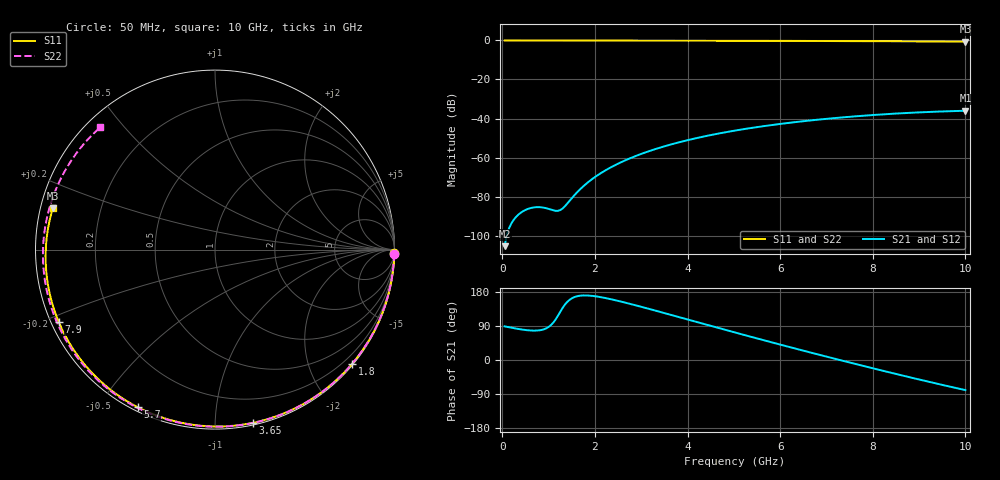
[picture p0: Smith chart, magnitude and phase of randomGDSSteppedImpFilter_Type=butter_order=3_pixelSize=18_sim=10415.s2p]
! freq	dB(S11)	phase(S11)	dB(S12)	phase(S12)
!  dB(S21)	phase(S21)	dB(S22)	phase(S22)
!S-par simulation data
#  GHz  S  DB  R 50
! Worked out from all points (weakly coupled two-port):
!   200 points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, 50 MHz to 10 GHz, reference 50 ohm
!   highest |S21| = -36.03 dB at 10 GHz (marker M1); lowest = -105.4 dB at 50 MHz (marker M2)
!   lowest |S11| = -0.6 dB at 10 GHz (marker M3), VSWR 28.66, Z = 1.77 + j6.26 ohm
!   |S11| at or under -10 dB: nowhere
!   |S22| runs from -0.6 to 0.0 dB; largest |S21 - S12| = 0
!   S11 on the Smith chart (normalised r, x): 50 MHz: open; 1.8 GHz: 0.03, -2.77; 3.65 GHz: 0.02, -1.24; 5.7 GHz: 0.02, -0.62; 7.9 GHz: 0.02, -0.22; 10 GHz: 0.04, +0.13
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0.05  -0.00 -1.1  -105.43 88.8  -105.43 88.8  -0.00 -1.4
0.4  -0.01 -9.0  -88.27 80.8  -88.27 80.8  -0.02 -11.2
0.75  -0.02 -16.8  -85.43 77.8  -85.43 77.8  -0.03 -20.9
1.5  -0.04 -33.3  -80.86 162.6  -80.86 162.6  -0.05 -41.4
1.55  -0.04 -34.3  -79.50 165.6  -79.50 165.6  -0.05 -42.7
1.75  -0.05 -38.7  -74.72 170.4  -74.72 170.4  -0.06 -48.0
1.8  -0.05 -39.7  -73.68 170.4  -73.68 170.4  -0.06 -49.3
2.1  -0.06 -46.1  -68.42 166.4  -68.42 166.4  -0.07 -57.1
2.45  -0.07 -53.5  -63.73 157.5  -63.73 157.5  -0.08 -65.9
2.9  -0.08 -62.8  -59.05 143.7  -59.05 143.7  -0.10 -77.0
3.4  -0.10 -72.8  -54.97 127.2  -54.97 127.2  -0.11 -88.9
3.65  -0.10 -77.8  -53.25 118.8  -53.25 118.8  -0.12 -94.7
4.3  -0.13 -90.3  -49.49 96.9  -49.49 96.9  -0.15 -109.2
5.05  -0.16 -104.4  -46.09 71.8  -46.09 71.8  -0.18 -125.2
5.7  -0.19 -116.2  -43.73 50.4  -43.73 50.4  -0.22 -138.6
6.2  -0.22 -125.1  -42.20 34.2  -42.20 34.2  -0.25 -148.6
6.7  -0.26 -134.0  -40.88 18.3  -40.88 18.3  -0.28 -158.6
7.3  -0.31 -144.6  -39.52 -0.4  -39.52 -0.4  -0.33 -170.5
7.9  -0.36 -155.2  -38.39 -18.8  -38.39 -18.8  -0.38 177.5
8.35  -0.41 -163.2  -37.68 -32.4  -37.68 -32.4  -0.42 168.4
9.15  -0.50 -177.9  -36.70 -55.8  -36.70 -55.8  -0.50 151.7
10  -0.61 165.7  -36.03 -79.4  -36.03 -79.4  -0.59 133.2
